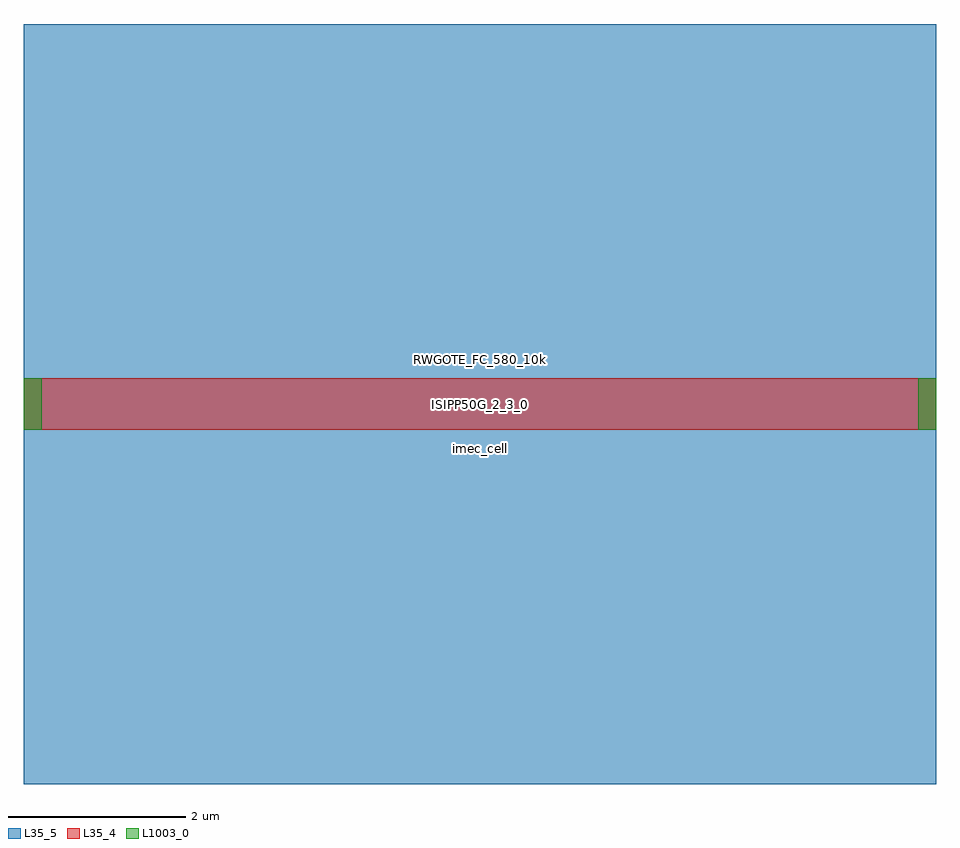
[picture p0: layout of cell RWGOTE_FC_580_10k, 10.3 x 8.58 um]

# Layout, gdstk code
import gdstk
lib = gdstk.Library(unit=1e-6, precision=1e-09)
def R(c, l, rs):  # rectangles x0, y0, x1, y1
    for r in rs: c.add(gdstk.rectangle(r[:2], r[2:], *l))
L35_4 = (35, 4)
L35_5 = (35, 5)
L1003_0 = (1003, 0)

rwgote_fc_580_10k = lib.new_cell('RWGOTE_FC_580_10k')
R(rwgote_fc_580_10k, L35_4, [(-0.15,-0.29,0,0.29), (0,-0.29,10,0.29), (10,-0.29,10.15,0.29)])
R(rwgote_fc_580_10k, L35_5, [(-0.15,-4.29,0,4.29), (0,-4.29,10,4.29), (10,-4.29,10.15,4.29)])
R(rwgote_fc_580_10k, L1003_0, [(-0.15,-0.29,0,0.29), (0,-0.29,0.05,0.29), (9.95,-0.29,10,0.29), (10,-0.29,10.15,0.29)])
rwgote_fc_580_10k.add(gdstk.Label('RWGOTE_FC_580_10k', (5,0.5), layer=1002, texttype=0))
rwgote_fc_580_10k.add(gdstk.Label('ISIPP50G_2_3_0', (5,0), layer=1002, texttype=0))
rwgote_fc_580_10k.add(gdstk.Label('imec_cell', (5,-0.5), layer=1002, texttype=0))

lib.write_gds('RWGOTE_FC_580_10k.gds')
